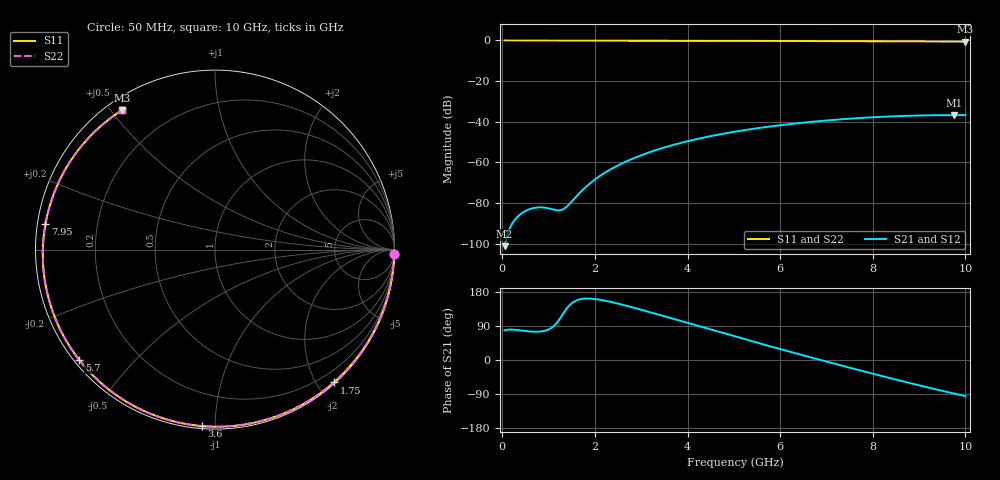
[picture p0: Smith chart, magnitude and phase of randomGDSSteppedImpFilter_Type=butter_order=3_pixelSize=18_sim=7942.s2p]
! freq	dB(S11)	phase(S11)	dB(S12)	phase(S12)
!  dB(S21)	phase(S21)	dB(S22)	phase(S22)
!S-par simulation data
#  GHz  S  DB  R 50
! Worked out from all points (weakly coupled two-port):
!   200 points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, 50 MHz to 10 GHz, reference 50 ohm
!   highest |S21| = -36.76 dB at 9.75 GHz (marker M1); lowest = -101.3 dB at 50 MHz (marker M2)
!   lowest |S11| = -0.6 dB at 10 GHz (marker M3), VSWR 29.24, Z = 2.2 + j26.7 ohm
!   |S11| at or under -10 dB: nowhere
!   |S22| runs from -0.6 to 0.0 dB; largest |S21 - S12| = 0
!   S11 on the Smith chart (normalised r, x): 50 MHz: 1, -84; 1.75 GHz: 0.02, -2.24; 3.6 GHz: 0.01, -0.93; 5.7 GHz: 0.01, -0.36; 7.95 GHz: 0.02, +0.08; 10 GHz: 0.04, +0.53
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0.05  -0.00 -1.4  -101.26 78.1  -101.26 78.1  -0.00 -1.4
0.4  -0.02 -11.2  -85.37 77.9  -85.37 77.9  -0.02 -11.2
0.75  -0.03 -21.0  -82.22 74.5  -82.22 74.5  -0.03 -21.0
1.45  -0.05 -40.2  -80.48 144.2  -80.48 144.2  -0.05 -40.2
1.5  -0.05 -41.5  -79.24 149.8  -79.24 149.8  -0.05 -41.5
1.75  -0.06 -48.2  -73.23 161.7  -73.23 161.7  -0.06 -48.2
2.05  -0.07 -56.0  -67.61 160.1  -67.61 160.1  -0.07 -56.0
2.45  -0.08 -66.3  -62.06 150.3  -62.06 150.3  -0.08 -66.3
2.9  -0.10 -77.5  -57.38 136.0  -57.38 136.0  -0.10 -77.5
3.4  -0.11 -89.6  -53.37 118.8  -53.37 118.8  -0.11 -89.6
3.6  -0.12 -94.3  -52.01 111.8  -52.01 111.8  -0.12 -94.3
4.3  -0.15 -110.4  -48.04 87.3  -48.04 87.3  -0.15 -110.3
5.05  -0.19 -126.9  -44.80 61.2  -44.80 61.2  -0.19 -126.9
5.7  -0.22 -140.8  -42.59 38.9  -42.59 38.9  -0.22 -140.8
6.2  -0.26 -151.4  -41.19 22.1  -41.19 22.1  -0.26 -151.3
6.7  -0.29 -161.9  -40.01 5.6  -40.01 5.6  -0.29 -161.8
7.35  -0.34 -175.7  -38.76 -15.5  -38.76 -15.5  -0.34 -175.6
7.95  -0.40 171.4  -37.87 -34.6  -37.87 -34.6  -0.40 171.5
8.35  -0.43 162.6  -37.42 -47.1  -37.42 -47.1  -0.43 162.7
9.05  -0.50 146.7  -36.91 -68.4  -36.91 -68.4  -0.50 146.8
9.75  -0.57 129.9  -36.76 -88.4  -36.76 -88.4  -0.57 130.1
10  -0.59 123.7  -36.77 -95.2  -36.77 -95.2  -0.59 123.9
